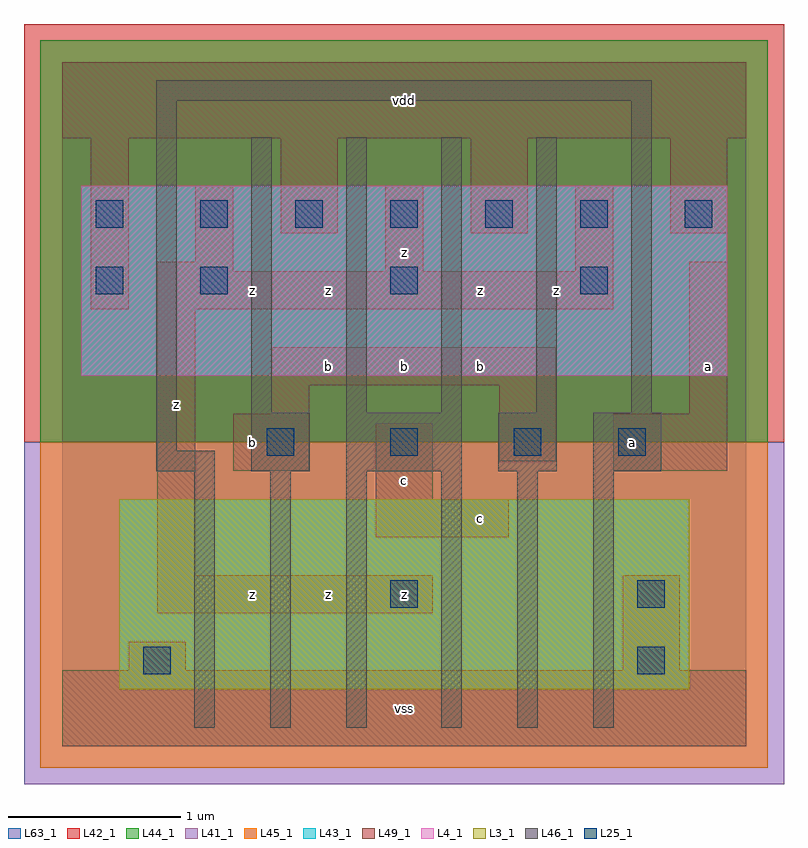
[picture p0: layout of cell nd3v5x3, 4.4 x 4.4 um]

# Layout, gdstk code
import gdstk
lib = gdstk.Library(unit=1e-6, precision=1e-09)
def R(c, l, rs):  # rectangles x0, y0, x1, y1
    for r in rs: c.add(gdstk.rectangle(r[:2], r[2:], *l))
def A(c, l, x, y, w, h, nx, ny, dx, dy):  # array of equal rectangles
    R(c, l, [(x+i*dx, y+j*dy, x+i*dx+w, y+j*dy+h) for i in range(nx) for j in range(ny)])
L3_1 = (3, 1)
L4_1 = (4, 1)
L25_1 = (25, 1)
L41_1 = (41, 1)
L42_1 = (42, 1)
L43_1 = (43, 1)
L44_1 = (44, 1)
L45_1 = (45, 1)
L46_1 = (46, 1)
L49_1 = (49, 1)
L63_1 = (63, 1)

nd3v5x3 = lib.new_cell('nd3v5x3')
R(nd3v5x3, L3_1, [(0.33,0.33,3.63,1.43)])
R(nd3v5x3, L4_1, [(0.11,2.145,3.85,3.245)])
A(nd3v5x3, L25_1, 1.185, 1.68, 0.16, 0.16, 3, 1, 0.715, 0)
A(nd3v5x3, L25_1, 0.8, 2.615, 0.16, 0.16, 3, 1, 1.1, 0)
A(nd3v5x3, L25_1, 0.8, 3, 0.16, 0.16, 5, 1, 0.55, 0)
R(nd3v5x3, L25_1, [(0.47,0.415,0.63,0.575), (3.33,0.415,3.49,0.575), (1.9,0.8,2.06,0.96), (3.33,0.8,3.49,0.96), (3.22,1.68,3.38,1.84), (0.195,2.615,0.355,2.775), (0.195,3,0.355,3.16), (3.605,3,3.765,3.16)])
R(nd3v5x3, L41_1, [(-0.22,-0.22,4.18,1.76)])
R(nd3v5x3, L42_1, [(-0.22,1.76,4.18,4.18)])
R(nd3v5x3, L43_1, [(0.33,0.33,3.63,1.43), (0.11,2.145,3.85,3.245)])
R(nd3v5x3, L44_1, [(-0.125,1.76,4.085,4.085)])
R(nd3v5x3, L45_1, [(-0.125,-0.125,4.085,1.76)])
A(nd3v5x3, L46_1, 0.765, 0.105, 0.12, 1.485, 3, 1, 0.44, 0)
A(nd3v5x3, L46_1, 2.195, 0.105, 0.12, 1.485, 3, 1, 0.44, 0)
A(nd3v5x3, L46_1, 1.095, 1.93, 0.12, 1.595, 4, 1, 0.55, 0)
R(nd3v5x3, L46_1, [(0.545,1.59,0.885,1.71), (1.095,1.59,1.435,1.93), (1.645,1.59,2.315,1.93), (2.525,1.59,2.865,1.93), (3.075,1.59,3.47,1.93), (0.545,1.71,0.665,3.735), (3.295,1.93,3.415,3.735), (0.545,3.735,3.415,3.855)])
R(nd3v5x3, L49_1, [(0,0,3.96,0.44), (0.385,0.44,0.715,0.605), (3.245,0.44,3.575,0.99), (0.55,0.77,2.145,0.99), (0.55,0.99,0.77,2.53), (1.815,1.21,2.585,1.43), (1.815,1.43,2.145,1.87), (0.99,1.595,1.43,1.925), (3.19,1.595,3.85,1.925), (2.53,1.65,2.86,2.09), (1.21,1.925,1.43,2.09), (3.63,1.925,3.85,2.805), (1.21,2.09,2.86,2.31), (0.165,2.53,0.385,3.52), (0.55,2.53,3.19,2.75), (0.55,2.75,0.99,2.805), (1.87,2.75,2.09,3.245), (2.97,2.75,3.19,3.245), (0.77,2.805,0.99,3.245), (1.265,2.97,1.595,3.52), (2.365,2.97,2.695,3.52), (3.52,2.97,3.85,3.52), (0,3.52,3.96,3.96)])
R(nd3v5x3, L63_1, [(0,0,3.96,3.96)])
nd3v5x3.add(gdstk.Label('z', (1.1,0.88), layer=49, texttype=1))
nd3v5x3.add(gdstk.Label('b', (1.1,1.76), layer=49, texttype=1))
nd3v5x3.add(gdstk.Label('z', (0.66,1.98), layer=49, texttype=1))
nd3v5x3.add(gdstk.Label('z', (1.1,2.64), layer=49, texttype=1))
nd3v5x3.add(gdstk.Label('vss', (1.98,0.22), layer=49, texttype=1))
nd3v5x3.add(gdstk.Label('z', (1.98,0.88), layer=49, texttype=1))
nd3v5x3.add(gdstk.Label('z', (1.54,0.88), layer=49, texttype=1))
nd3v5x3.add(gdstk.Label('c', (1.98,1.54), layer=49, texttype=1))
nd3v5x3.add(gdstk.Label('b', (1.54,2.2), layer=49, texttype=1))
nd3v5x3.add(gdstk.Label('b', (1.98,2.2), layer=49, texttype=1))
nd3v5x3.add(gdstk.Label('z', (1.54,2.64), layer=49, texttype=1))
nd3v5x3.add(gdstk.Label('z', (1.98,2.86), layer=49, texttype=1))
nd3v5x3.add(gdstk.Label('vdd', (1.98,3.74), layer=49, texttype=1))
nd3v5x3.add(gdstk.Label('c', (2.42,1.32), layer=49, texttype=1))
nd3v5x3.add(gdstk.Label('b', (2.42,2.2), layer=49, texttype=1))
nd3v5x3.add(gdstk.Label('z', (2.42,2.64), layer=49, texttype=1))
nd3v5x3.add(gdstk.Label('z', (2.86,2.64), layer=49, texttype=1))
nd3v5x3.add(gdstk.Label('a', (3.3,1.76), layer=49, texttype=1))
nd3v5x3.add(gdstk.Label('a', (3.74,2.2), layer=49, texttype=1))

lib.write_gds('nd3v5x3.gds')
